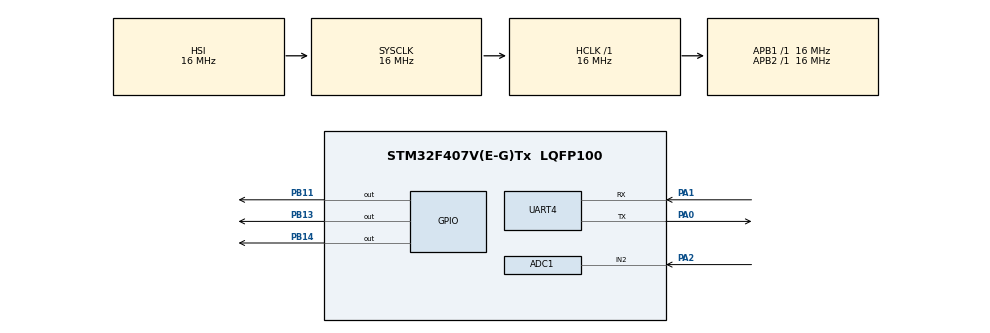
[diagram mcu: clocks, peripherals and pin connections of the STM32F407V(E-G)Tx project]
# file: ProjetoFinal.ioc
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ADC1.Channel-10\#ChannelRegularConversion=ADC_CHANNEL_2
ADC1.NbrOfConversionFlag=1
ADC1.Rank-10\#ChannelRegularConversion=1
ADC1.SamplingTime-10\#ChannelRegularConversion=ADC_SAMPLETIME_3CYCLES
ADC1.master=1
FREERTOS.INCLUDE_vTaskDelayUntil=1
FREERTOS.INCLUDE_xSemaphoreGetMutexHolder=1
FREERTOS.Queues01=myQueue,128,uint8_t,NULL,Dynamic,NULL,NULL
FREERTOS.Tasks01=piscaLed,0,128,StartPiscaLed,Default,NULL,Dynamic,NULL,NULL;taskSporadic,3,128,StartTaskSporadic,Default,NULL,Dynamic,NULL,NULL;readSensor,0,128,StartTaskReadSensor,Default,NULL,Dynamic,NULL,NULL;taskControl,0,128,StartControlTask,Default,NULL,Dynamic,NULL,NULL;gateKeeper,0,128,StartTaskGatekeeper,Default,NULL,Dynamic,NULL,NULL
Mcu.Family=STM32F4
Mcu.Name=STM32F407V(E-G)Tx
Mcu.Package=LQFP100
NVIC.PriorityGroup=NVIC_PRIORITYGROUP_4
NVIC.UART4_IRQn=true\:5\:0\:false\:false\:true\:true\:true
PA0-WKUP.Mode=Asynchronous
PA0-WKUP.Signal=UART4_TX
PA1.Mode=Asynchronous
PA1.Signal=UART4_RX
PA13.Mode=Serial_Wire
PA13.Signal=SYS_JTMS-SWDIO
PA14.Mode=Serial_Wire
PA14.Signal=SYS_JTCK-SWCLK
PA2.Signal=ADCx_IN2
PB11.Signal=GPIO_Output
PB13.Signal=GPIO_Output
PB14.Signal=GPIO_Output
PH0-OSC_IN.Mode=HSE-External-Oscillator
PH0-OSC_IN.Signal=RCC_OSC_IN
PH1-OSC_OUT.Mode=HSE-External-Oscillator
PH1-OSC_OUT.Signal=RCC_OSC_OUT
ProjectManager.HeapSize=0x200
ProjectManager.StackSize=0x400
ProjectManager.TargetToolchain=SW4STM32
RCC.48MHZClocksFreq_Value=96000000
RCC.AHBFreq_Value=16000000
RCC.APB1Freq_Value=16000000
RCC.APB2Freq_Value=16000000
RCC.CortexFreq_Value=16000000
RCC.HSE_VALUE=25000000
RCC.HSI_VALUE=16000000
RCC.LSE_VALUE=32768
RCC.PLLM=8
RCC.SYSCLKFreq_VALUE=16000000
RCC.VCOOutputFreq_Value=384000000
SH.ADCx_IN2.0=ADC1_IN2,IN2
UART4.VirtualMode=Asynchronous
VP_FREERTOS_VS_ENABLE.Mode=Enabled
board=ProjetoFinal

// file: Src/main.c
/**
 ******************************************************************************
 * File Name          : main.c
 * Description        : Main program body
 ******************************************************************************
 * This notice applies to any and all portions of this file
 * that are not between comment pairs USER CODE BEGIN and
 * USER CODE END. Other portions of this file, whether
 * inserted by the user or by software development tools
 * are owned by their respective copyright owners.
 *
 * Copyright (c) 2017 STMicroelectronics International N.V.
 * All rights reserved.
 *
 * Redistribution and use in source and binary forms, with or without
 * modification, are permitted, provided that the following conditions are met:
 *
 * 1. Redistribution of source code must retain the above copyright notice,
 *    this list of conditions and the following disclaimer.
 * 2. Redistributions in binary form must reproduce the above copyright notice,
 *    this list of conditions and the following disclaimer in the documentation
 *    and/or other materials provided with the distribution.
 * 3. Neither the name of STMicroelectronics nor the names of other
 *    contributors to this software may be used to endorse or promote products
 *    derived from this software without specific written permission.
 * 4. This software, including modifications and/or derivative works of this
 *    software, must execute solely and exclusively on microcontroller or
 *    microprocessor devices manufactured by or for STMicroelectronics.
 * 5. Redistribution and use of this software other than as permitted under
 *    this license is void and will automatically terminate your rights under
 *    this license.
 *
 * THIS SOFTWARE IS PROVIDED BY STMICROELECTRONICS AND CONTRIBUTORS "AS IS"
 * AND ANY EXPRESS, IMPLIED OR STATUTORY WARRANTIES, INCLUDING, BUT NOT
 * LIMITED TO, THE IMPLIED WARRANTIES OF MERCHANTABILITY, FITNESS FOR A
 * PARTICULAR PURPOSE AND NON-INFRINGEMENT OF THIRD PARTY INTELLECTUAL PROPERTY
 * RIGHTS ARE DISCLAIMED TO THE FULLEST EXTENT PERMITTED BY LAW. IN NO EVENT
 * SHALL STMICROELECTRONICS OR CONTRIBUTORS BE LIABLE FOR ANY DIRECT, INDIRECT,
 * INCIDENTAL, SPECIAL, EXEMPLARY, OR CONSEQUENTIAL DAMAGES (INCLUDING, BUT NOT
 * LIMITED TO, PROCUREMENT OF SUBSTITUTE GOODS OR SERVICES; LOSS OF USE, DATA,
 * OR PROFITS; OR BUSINESS INTERRUPTION) HOWEVER CAUSED AND ON ANY THEORY OF
 * LIABILITY, WHETHER IN CONTRACT, STRICT LIABILITY, OR TORT (INCLUDING
 * NEGLIGENCE OR OTHERWISE) ARISING IN ANY WAY OUT OF THE USE OF THIS SOFTWARE,
 * EVEN IF ADVISED OF THE POSSIBILITY OF SUCH DAMAGE.
 *
 ******************************************************************************
 */
#include "main.h"
#include "stm32f4xx_hal.h"
#include "cmsis_os.h"

ADC_HandleTypeDef hadc1;

UART_HandleTypeDef huart4;

osThreadId piscaLedHandle;
osThreadId taskSporadicHandle;
osThreadId readSensorHandle;
osThreadId taskControlHandle;
osThreadId gateKeeperHandle;
osMessageQId myQueueHandle;

/* USER CODE BEGIN PV */

/* Private variables ---------------------------------------------------------*/
int adcValue;
int adcValuePPM;

/* USER CODE END PV */

void SystemClock_Config(void);
static void MX_GPIO_Init(void);
static void MX_UART4_Init(void);
static void MX_ADC1_Init(void);
void StartPiscaLed(void const * argument);
void StartTaskSporadic(void const * argument);
void StartTaskReadSensor(void const * argument);
void StartControlTask(void const * argument);
void StartTaskGatekeeper(void const * argument);

/* USER CODE BEGIN PFP */
/* Private function prototypes -----------------------------------------------*/

/* USER CODE END PFP */

int main(void)
{

	/* MCU Configuration----------------------------------------------------------*/

	/* Reset of all peripherals, Initializes the Flash interface and the Systick. */
	HAL_Init();

	/* Configure the system clock */
	SystemClock_Config();

	/* Initialize all configured peripherals */
	MX_GPIO_Init();
	MX_UART4_Init();
	MX_ADC1_Init();

	/* Create the thread(s) */
	/* definition and creation of piscaLed */
	osThreadDef(piscaLed, StartPiscaLed, osPriorityNormal, 0, 128);
	piscaLedHandle = osThreadCreate(osThread(piscaLed), NULL);

	/* definition and creation of taskSporadic */
	osThreadDef(taskSporadic, StartTaskSporadic, osPriorityRealtime, 0, 128);
	taskSporadicHandle = osThreadCreate(osThread(taskSporadic), NULL);

	/* definition and creation of readSensor */
	osThreadDef(readSensor, StartTaskReadSensor, osPriorityNormal, 0, 128);
	readSensorHandle = osThreadCreate(osThread(readSensor), NULL);

	/* definition and creation of taskControl */
	osThreadDef(taskControl, StartControlTask, osPriorityNormal, 0, 128);
	taskControlHandle = osThreadCreate(osThread(taskControl), NULL);

	/* definition and creation of gateKeeper */
	osThreadDef(gateKeeper, StartTaskGatekeeper, osPriorityNormal, 0, 128);
	gateKeeperHandle = osThreadCreate(osThread(gateKeeper), NULL);

	/* Create the queue(s) */
	/* definition and creation of myQueue */
	osMessageQDef(myQueue, 128, uint8_t[42]);
	myQueueHandle = osMessageCreate(osMessageQ(myQueue), NULL);

	/*suspend task sporadic	 */

	vTaskSuspend(taskSporadicHandle);

	/* Start scheduler */
	osKernelStart();

	/* We should never get here as control is now taken by the scheduler */

	/* Infinite loop */
	while (1)
	{

	}

}

/** System Clock Configuration
 */
void SystemClock_Config(void)
{

	RCC_OscInitTypeDef RCC_OscInitStruct;
	RCC_ClkInitTypeDef RCC_ClkInitStruct;

	/**Configure the main internal regulator output voltage
	 */
	__HAL_RCC_PWR_CLK_ENABLE();

	__HAL_PWR_VOLTAGESCALING_CONFIG(PWR_REGULATOR_VOLTAGE_SCALE1);

	/**Initializes the CPU, AHB and APB busses clocks
	 */
	RCC_OscInitStruct.OscillatorType = RCC_OSCILLATORTYPE_HSI;
	RCC_OscInitStruct.HSIState = RCC_HSI_ON;
	RCC_OscInitStruct.HSICalibrationValue = 16;
	RCC_OscInitStruct.PLL.PLLState = RCC_PLL_NONE;
	if (HAL_RCC_OscConfig(&RCC_OscInitStruct) != HAL_OK)
	{
		_Error_Handler(__FILE__, __LINE__);
	}

	/**Initializes the CPU, AHB and APB busses clocks
	 */
	RCC_ClkInitStruct.ClockType = RCC_CLOCKTYPE_HCLK|RCC_CLOCKTYPE_SYSCLK
			|RCC_CLOCKTYPE_PCLK1|RCC_CLOCKTYPE_PCLK2;
	RCC_ClkInitStruct.SYSCLKSource = RCC_SYSCLKSOURCE_HSI;
	RCC_ClkInitStruct.AHBCLKDivider = RCC_SYSCLK_DIV1;
	RCC_ClkInitStruct.APB1CLKDivider = RCC_HCLK_DIV1;
	RCC_ClkInitStruct.APB2CLKDivider = RCC_HCLK_DIV1;

	if (HAL_RCC_ClockConfig(&RCC_ClkInitStruct, FLASH_LATENCY_0) != HAL_OK)
	{
		_Error_Handler(__FILE__, __LINE__);
	}

	/**Configure the Systick interrupt time
	 */
	HAL_SYSTICK_Config(HAL_RCC_GetHCLKFreq()/1000);

	/**Configure the Systick
	 */
	HAL_SYSTICK_CLKSourceConfig(SYSTICK_CLKSOURCE_HCLK);

	/* SysTick_IRQn interrupt configuration */
	HAL_NVIC_SetPriority(SysTick_IRQn, 15, 0);
}

/* ADC1 init function */
static void MX_ADC1_Init(void)
{

	ADC_ChannelConfTypeDef sConfig;

	/**Configure the global features of the ADC (Clock, Resolution, Data Alignment and number of conversion)
	 */
	hadc1.Instance = ADC1;
	hadc1.Init.ClockPrescaler = ADC_CLOCK_SYNC_PCLK_DIV2;
	hadc1.Init.Resolution = ADC_RESOLUTION_12B;
	hadc1.Init.ScanConvMode = DISABLE;
	hadc1.Init.ContinuousConvMode = DISABLE;
	hadc1.Init.DiscontinuousConvMode = DISABLE;
	hadc1.Init.ExternalTrigConvEdge = ADC_EXTERNALTRIGCONVEDGE_NONE;
	hadc1.Init.ExternalTrigConv = ADC_SOFTWARE_START;
	hadc1.Init.DataAlign = ADC_DATAALIGN_RIGHT;
	hadc1.Init.NbrOfConversion = 1;
	hadc1.Init.DMAContinuousRequests = DISABLE;
	hadc1.Init.EOCSelection = ADC_EOC_SINGLE_CONV;
	if (HAL_ADC_Init(&hadc1) != HAL_OK)
	{
		_Error_Handler(__FILE__, __LINE__);
	}

	/**Configure for the selected ADC regular channel its corresponding rank in the sequencer and its sample time.
	 */
	sConfig.Channel = ADC_CHANNEL_2;
	sConfig.Rank = 1;
	sConfig.SamplingTime = ADC_SAMPLETIME_3CYCLES;
	if (HAL_ADC_ConfigChannel(&hadc1, &sConfig) != HAL_OK)
	{
		_Error_Handler(__FILE__, __LINE__);
	}

}

/* UART4 init function */
static void MX_UART4_Init(void)
{

	huart4.Instance = UART4;
	huart4.Init.BaudRate = 115200;
	huart4.Init.WordLength = UART_WORDLENGTH_8B;
	huart4.Init.StopBits = UART_STOPBITS_1;
	huart4.Init.Parity = UART_PARITY_NONE;
	huart4.Init.Mode = UART_MODE_TX_RX;
	huart4.Init.HwFlowCtl = UART_HWCONTROL_NONE;
	huart4.Init.OverSampling = UART_OVERSAMPLING_16;
	if (HAL_UART_Init(&huart4) != HAL_OK)
	{
		_Error_Handler(__FILE__, __LINE__);
	}

}

/** Configure pins as
 * Analog
 * Input
 * Output
 * EVENT_OUT
 * EXTI
 */
static void MX_GPIO_Init(void)
{

	GPIO_InitTypeDef GPIO_InitStruct;

	/* GPIO Ports Clock Enable */
	__HAL_RCC_GPIOH_CLK_ENABLE();
	__HAL_RCC_GPIOA_CLK_ENABLE();
	__HAL_RCC_GPIOB_CLK_ENABLE();

	/*Configure GPIO pin Output Level */
	HAL_GPIO_WritePin(GPIOB, GPIO_PIN_11|GPIO_PIN_13|GPIO_PIN_14, GPIO_PIN_RESET);

	/*Configure GPIO pins : PB11 PB13 PB14 */
	GPIO_InitStruct.Pin = GPIO_PIN_11|GPIO_PIN_13|GPIO_PIN_14;
	GPIO_InitStruct.Mode = GPIO_MODE_OUTPUT_PP;
	GPIO_InitStruct.Pull = GPIO_NOPULL;
	GPIO_InitStruct.Speed = GPIO_SPEED_FREQ_LOW;
	HAL_GPIO_Init(GPIOB, &GPIO_InitStruct);

}

/* StartPiscaLed function */
void StartPiscaLed(void const * argument)
{

	/* USER CODE BEGIN 5 */
	uint8_t a[42];
	int aux;
	TickType_t xTime1, xTime2;

	/* Infinite loop */
	for(;;)
	{
		xTime1 = xTaskGetTickCountFromISR();

		HAL_GPIO_TogglePin(GPIOB, GPIO_PIN_11);
		osDelay(300);

		xTime2 = xTaskGetTickCountFromISR();

		a[0] = '[';
		a[1] = 'p';
		a[2] = 'i';
		a[3] = 's';
		a[4] = 'c';
		a[5] = 'a';
		a[6] = 'L';
		a[7] = 'e';
		a[8] = 'd';
		a[9] = '_';
		a[10] = (xTime1 / 1000000000) + '0';
		xTime1 = xTime1 % 1000000000;
		a[11] = (xTime1 / 100000000) + '0';
		xTime1 = xTime1 % 100000000;
		a[12] = (xTime1 / 10000000) + '0';
		xTime1 = xTime1 % 10000000;
		a[13] =(xTime1 / 1000000) + '0';
		xTime1 = xTime1 % 1000000;
		a[14] = (xTime1 / 100000) + '0';
		xTime1 = xTime1 % 100000;
		a[15] = (xTime1 / 10000) + '0';
		xTime1 = xTime1 % 10000;
		a[16] = (xTime1 / 1000) + '0';
		xTime1 = xTime1 % 1000;
		a[17] = (xTime1 / 100) + '0';
		xTime1 = xTime1 % 100;
		a[18] = (xTime1 / 10) + '0';
		xTime1 = xTime1 % 10;
		a[19] = xTime1 + '0';
		a[20] = '_';
		a[21] = (xTime2 / 1000000000) + '0';
		xTime2 = xTime2 % 1000000000;
		a[22] = (xTime2 / 100000000) + '0';
		xTime2 = xTime2 % 100000000;
		a[23] = (xTime2 / 10000000) + '0';
		xTime2 = xTime2 % 10000000;
		a[24] =(xTime2 / 1000000) + '0';
		xTime2 = xTime2 % 1000000;
		a[25] = (xTime2 / 100000) + '0';
		xTime2 = xTime2 % 100000;
		a[26] = (xTime2 / 10000) + '0';
		xTime2 = xTime2 % 10000;
		a[27] = (xTime2 / 1000) + '0';
		xTime2 = xTime2 % 1000;
		a[28] = (xTime2 / 100) + '0';
		xTime2 = xTime2 % 100;
		a[29] = (xTime2 / 10) + '0';
		xTime2 = xTime2 % 10;
		a[30] = xTime2 + '0';
		a[31] = '_';
		aux = adcValue;
		a[32] = (aux / 1000) + '0';
		aux = aux % 1000;
		a[33] = (aux / 100) + '0';
		aux = aux % 100;
		a[34] = (aux / 10) + '0';
		aux = aux % 10;
		a[35] = aux + '0';
		a[36] ='_';
		aux = adcValuePPM;
		a[37] = (aux / 100) + '0';
		aux = aux % 100;
		a[38] = (aux / 10) + '0';
		aux = aux % 10;
		a[39] = aux + '0';
		a[40] = ']';
		a[41] = '\n';

		xQueueSendToBack(myQueueHandle, a, 0);
		osDelay(1);
	}
	/* USER CODE END 5 */
}

/* StartTaskSporadic function */
void StartTaskSporadic(void const * argument)
{
	/* USER CODE BEGIN StartTaskSporadic */
	uint8_t b[42];
	int aux;
	TickType_t xTime1, xTime2;

	/* Infinite loop */
	for(;;)
	{
		xTime1 =  xTaskGetTickCountFromISR();

		HAL_GPIO_WritePin(GPIOB, GPIO_PIN_14, 1);
		HAL_GPIO_WritePin(GPIOB, GPIO_PIN_13, 1);

		xTime2 =  xTaskGetTickCountFromISR();

		b[0] = '[';
		b[1] = 's';
		b[2] = 'p';
		b[3] = 'o';
		b[4] = 'r';
		b[5] = 'a';
		b[6] = 'd';
		b[7] = 'i';
		b[8] = 'c';
		b[9] = '_';
		b[10] = (xTime1 / 1000000000) + '0';
		xTime1 = xTime1 % 1000000000;
		b[11] = (xTime1 / 100000000) + '0';
		xTime1 = xTime1 % 100000000;
		b[12] = (xTime1 / 10000000) + '0';
		xTime1 = xTime1 % 10000000;
		b[13] =(xTime1 / 1000000) + '0';
		xTime1 = xTime1 % 1000000;
		b[14] = (xTime1 / 100000) + '0';
		xTime1 = xTime1 % 100000;
		b[15] = (xTime1 / 10000) + '0';
		xTime1 = xTime1 % 10000;
		b[16] = (xTime1 / 1000) + '0';
		xTime1 = xTime1 % 1000;
		b[17] = (xTime1 / 100) + '0';
		xTime1 = xTime1 % 100;
		b[18] = (xTime1 / 10) + '0';
		xTime1 = xTime1 % 10;
		b[19] = xTime1 + '0';
		b[20] = '_';
		b[21] = (xTime2 / 1000000000) + '0';
		xTime2 = xTime2 % 1000000000;
		b[22] = (xTime2 / 100000000) + '0';
		xTime2 = xTime2 % 100000000;
		b[23] = (xTime2 / 10000000) + '0';
		xTime2 = xTime2 % 10000000;
		b[24] =(xTime2 / 1000000) + '0';
		xTime2 = xTime2 % 1000000;
		b[25] = (xTime2 / 100000) + '0';
		xTime2 = xTime2 % 100000;
		b[26] = (xTime2 / 10000) + '0';
		xTime2 = xTime2 % 10000;
		b[27] = (xTime2 / 1000) + '0';
		xTime2 = xTime2 % 1000;
		b[28] = (xTime2 / 100) + '0';
		xTime2 = xTime2 % 100;
		b[29] = (xTime2 / 10) + '0';
		xTime2 = xTime2 % 10;
		b[30] = xTime2 + '0';
		b[31] = '_';
		aux = adcValue;
		b[32] = (aux / 1000) + '0';
		aux = aux % 1000;
		b[33] = (aux / 100) + '0';
		aux = aux % 100;
		b[34] = (aux / 10) + '0';
		aux = aux % 10;
		b[35] = aux + '0';
		b[36] ='_';
		aux = adcValuePPM;
		b[37] = (aux / 100) + '0';
		aux = aux % 100;
		b[38] = (aux / 10) + '0';
		aux = aux % 10;
		b[39] = aux + '0';
		b[40] = ']';
		b[41] = '\n';

		xQueueSendToBack(myQueueHandle, b, 0);

		osDelay(1);

		vTaskSuspend(taskSporadicHandle);
	}
	/* USER CODE END StartTaskSporadic */
}

/* StartTaskReadSensor function */
void StartTaskReadSensor(void const * argument)
{
	/* USER CODE BEGIN StartTaskReadSensor */
	uint8_t c[42];
	int aux;
	TickType_t xTime1, xTime2;

	/* Infinite loop */
	for(;;)
	{
		xTime1 =  xTaskGetTickCountFromISR();

		HAL_ADC_Start(&hadc1);
		if (HAL_ADC_PollForConversion(&hadc1, 1000000) == HAL_OK)
		{
			adcValue = HAL_ADC_GetValue(&hadc1);
		}
		HAL_ADC_Stop(&hadc1);

		adcValuePPM = adcValue * 100 / 4096;

		xTime2 =  xTaskGetTickCountFromISR();

		c[0] = '[';
		c[1] = 'l';
		c[2] = 'e';
		c[3] = 'S';
		c[4] = 'e';
		c[5] = 'n';
		c[6] = 's';
		c[7] = 'o';
		c[8] = 'r';
		c[9] = '_';
		c[10] = (xTime1 / 1000000000) + '0';
		xTime1 = xTime1 % 1000000000;
		c[11] = (xTime1 / 100000000) + '0';
		xTime1 = xTime1 % 100000000;
		c[12] = (xTime1 / 10000000) + '0';
		xTime1 = xTime1 % 10000000;
		c[13] =(xTime1 / 1000000) + '0';
		xTime1 = xTime1 % 1000000;
		c[14] = (xTime1 / 100000) + '0';
		xTime1 = xTime1 % 100000;
		c[15] = (xTime1 / 10000) + '0';
		xTime1 = xTime1 % 10000;
		c[16] = (xTime1 / 1000) + '0';
		xTime1 = xTime1 % 1000;
		c[17] = (xTime1 / 100) + '0';
		xTime1 = xTime1 % 100;
		c[18] = (xTime1 / 10) + '0';
		xTime1 = xTime1 % 10;
		c[19] = xTime1 + '0';
		c[20] = '_';
		c[21] = (xTime2 / 1000000000) + '0';
		xTime2 = xTime2 % 1000000000;
		c[22] = (xTime2 / 100000000) + '0';
		xTime2 = xTime2 % 100000000;
		c[23] = (xTime2 / 10000000) + '0';
		xTime2 = xTime2 % 10000000;
		c[24] =(xTime2 / 1000000) + '0';
		xTime2 = xTime2 % 1000000;
		c[25] = (xTime2 / 100000) + '0';
		xTime2 = xTime2 % 100000;
		c[26] = (xTime2 / 10000) + '0';
		xTime2 = xTime2 % 10000;
		c[27] = (xTime2 / 1000) + '0';
		xTime2 = xTime2 % 1000;
		c[28] = (xTime2 / 100) + '0';
		xTime2 = xTime2 % 100;
		c[29] = (xTime2 / 10) + '0';
		xTime2 = xTime2 % 10;
		c[30] = xTime2 + '0';
		c[31] = '_';
		aux = adcValue;
		c[32] = (aux / 1000) + '0';
		aux = aux % 1000;
		c[33] = (aux / 100) + '0';
		aux = aux % 100;
		c[34] = (aux / 10) + '0';
		aux = aux % 10;
		c[35] = aux + '0';
		c[36] ='_';
		aux = adcValuePPM;
		c[37] = (aux / 100) + '0';
		aux = aux % 100;
		c[38] = (aux / 10) + '0';
		aux = aux % 10;
		c[39] = aux + '0';
		c[40] = ']';
		c[41] = '\n';

		xQueueSendToBack(myQueueHandle, c, 0);

		osDelay(50);
	}
	/* USER CODE END StartTaskReadSensor */
}

/* StartControlTask function */
void StartControlTask(void const * argument)
{
	/* USER CODE BEGIN StartControlTask */
	uint8_t d[42];
	int aux;
	TickType_t xTime1, xTime2;

	/* Infinite loop */
	for(;;)
	{
		xTime1 =  xTaskGetTickCountFromISR();

		if(adcValuePPM >= 20){
			vTaskResume(taskSporadicHandle);
		}
		else
		{
			HAL_GPIO_WritePin(GPIOB, GPIO_PIN_14, 0);
			HAL_GPIO_WritePin(GPIOB, GPIO_PIN_13, 0);
		}

		xTime2 =  xTaskGetTickCountFromISR();

		d[0] = '[';
		d[1] = 'c';
		d[2] = 'o';
		d[3] = 'n';
		d[4] = 't';
		d[5] = 'r';
		d[6] = 'o';
		d[7] = 'l';
		d[8] = 'e';
		d[9] = '_';
		d[10] = (xTime1 / 1000000000) + '0';
		xTime1 = xTime1 % 1000000000;
		d[11] = (xTime1 / 100000000) + '0';
		xTime1 = xTime1 % 100000000;
		d[12] = (xTime1 / 10000000) + '0';
		xTime1 = xTime1 % 10000000;
		d[13] =(xTime1 / 1000000) + '0';
		xTime1 = xTime1 % 1000000;
		d[14] = (xTime1 / 100000) + '0';
		xTime1 = xTime1 % 100000;
		d[15] = (xTime1 / 10000) + '0';
		xTime1 = xTime1 % 10000;
		d[16] = (xTime1 / 1000) + '0';
		xTime1 = xTime1 % 1000;
		d[17] = (xTime1 / 100) + '0';
		xTime1 = xTime1 % 100;
		d[18] = (xTime1 / 10) + '0';
		xTime1 = xTime1 % 10;
		d[19] = xTime1 + '0';
		d[20] = '_';
		d[21] = (xTime2 / 1000000000) + '0';
		xTime2 = xTime2 % 1000000000;
		d[22] = (xTime2 / 100000000) + '0';
		xTime2 = xTime2 % 100000000;
		d[23] = (xTime2 / 10000000) + '0';
		xTime2 = xTime2 % 10000000;
		d[24] = (xTime2 / 1000000) + '0';
		xTime2 = xTime2 % 1000000;
		d[25] = (xTime2 / 100000) + '0';
		xTime2 = xTime2 % 100000;
		d[26] = (xTime2 / 10000) + '0';
		xTime2 = xTime2 % 10000;
		d[27] = (xTime2 / 1000) + '0';
		xTime2 = xTime2 % 1000;
		d[28] = (xTime2 / 100) + '0';
		xTime2 = xTime2 % 100;
		d[29] = (xTime2 / 10) + '0';
		xTime2 = xTime2 % 10;
		d[30] = xTime2 + '0';
		d[31] = '_';
		aux = adcValue;
		d[32] = (aux / 1000) + '0';
		aux = aux % 1000;
		d[33] = (aux / 100) + '0';
		aux = aux % 100;
		d[34] = (aux / 10) + '0';
		aux = aux % 10;
		d[35] = aux + '0';
		d[36] ='_';
		aux = adcValuePPM;
		d[37] = (aux / 100) + '0';
		aux = aux % 100;
		d[38] = (aux / 10) + '0';
		aux = aux % 10;
		d[39] = aux + '0';
		d[40] = ']';
		d[41] = '\n';

		xQueueSendToBack(myQueueHandle, d, 0);

		osDelay(20);
	}
	/* USER CODE END StartControlTask */
}

/* StartTaskGatekeeper function */
void StartTaskGatekeeper(void const * argument)
{
	/* USER CODE BEGIN StartTaskGatekeeper */
	BaseType_t xStatus;
	uint8_t send[42];

	/* Infinite loop */
	for(;;)
	{
		xStatus = xQueueReceive( myQueueHandle, &send, pdMS_TO_TICKS( 100 )  );

		if( xStatus == pdPASS )
		{
			HAL_UART_Transmit_IT(&huart4, send , 42);
		}
		else
		{

		}
		osDelay(1);
	}
	/* USER CODE END StartTaskGatekeeper */
}

void _Error_Handler(char * file, int line)
{
	while(1)
	{
	}
}

/************************ (C) COPYRIGHT STMicroelectronics *****END OF FILE****/
